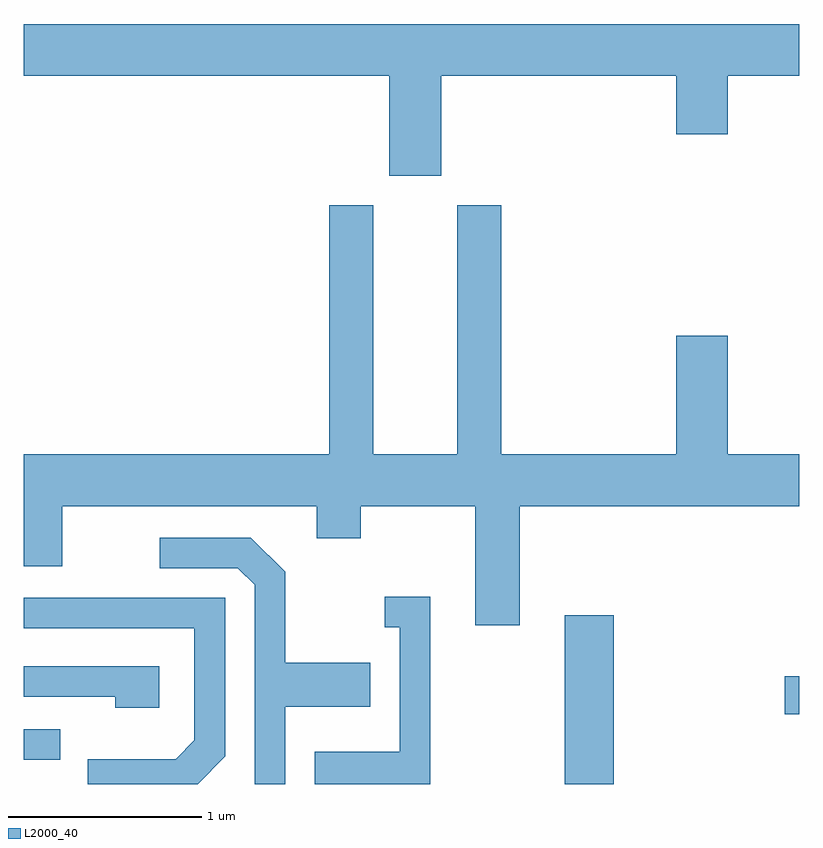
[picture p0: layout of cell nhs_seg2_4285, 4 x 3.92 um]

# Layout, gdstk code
import gdstk
lib = gdstk.Library(unit=1e-6, precision=1e-09)
def R(c, l, rs):  # rectangles x0, y0, x1, y1
    for r in rs: c.add(gdstk.rectangle(r[:2], r[2:], *l))
def P(c, l, *ps):  # polygons
    for p in ps: c.add(gdstk.Polygon(p, *l))
L2000_40 = (2000, 40)

nhs_seg2_4285 = lib.new_cell('nhs_seg2_4285')
R(nhs_seg2_4285, L2000_40, [(314.401,1015.802,314.654,1016.674), (311.611,1015.926,311.798,1016.084), (315.536,1016.161,315.611,1016.359)])
P(nhs_seg2_4285, L2000_40, [(313.764,1019.456),(314.976,1019.456),(314.976,1019.156),(315.244,1019.156),(315.244,1019.456),(315.611,1019.456),(315.611,1019.724),(311.611,1019.724),(311.611,1019.456),(313.496,1019.456),(313.496,1018.941),(313.764,1018.941)],
  [(314.169,1017.236),(315.611,1017.236),(315.611,1017.504),(315.244,1017.504),(315.244,1018.114),(314.976,1018.114),(314.976,1017.504),(314.074,1017.504),(314.074,1018.789),(313.846,1018.789),(313.846,1017.504),(313.414,1017.504),(313.414,1018.789),(313.186,1018.789),(313.186,1017.504),(311.611,1017.504),(311.611,1016.926),(311.809,1016.926),(311.809,1017.236),(313.121,1017.236),(313.121,1017.071),(313.349,1017.071),(313.349,1017.236),(313.941,1017.236),(313.941,1016.621),(314.169,1016.621)],
  [(312.959,1016.201),(313.399,1016.201),(313.399,1016.429),(312.959,1016.429),(312.959,1016.897),(312.782,1017.074),(312.313,1017.074),(312.313,1016.916),(312.714,1016.916),(312.801,1016.829),(312.801,1015.802),(312.959,1015.802)],
  [(313.709,1016.769),(313.473,1016.769),(313.473,1016.611),(313.551,1016.611),(313.551,1015.969),(313.111,1015.969),(313.111,1015.802),(313.709,1015.802)],
  [(312.649,1015.944),(312.649,1016.764),(311.611,1016.764),(311.611,1016.606),(312.491,1016.606),(312.491,1016.027),(312.394,1015.929),(311.941,1015.929),(311.941,1015.802),(312.508,1015.802)],
  [(312.309,1016.409),(311.611,1016.409),(311.611,1016.251),(312.081,1016.251),(312.081,1016.196),(312.309,1016.196)])

lib.write_gds('nhs_seg2_4285.gds')
